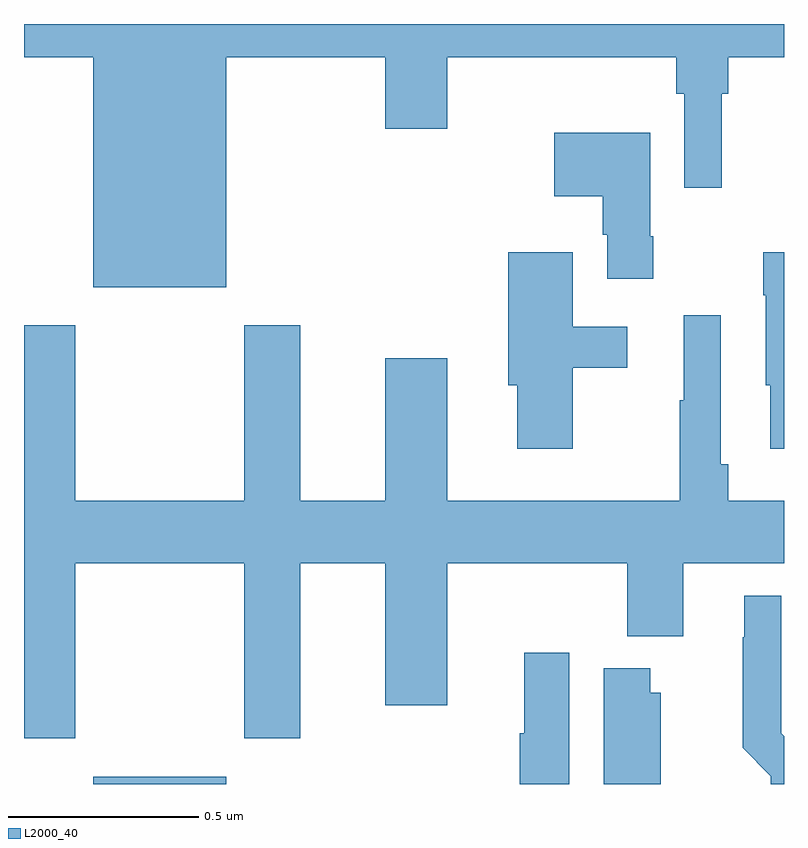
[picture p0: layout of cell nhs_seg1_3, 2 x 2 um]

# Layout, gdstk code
import gdstk
lib = gdstk.Library(unit=1e-6, precision=1e-09)
def R(c, l, rs):  # rectangles x0, y0, x1, y1
    for r in rs: c.add(gdstk.rectangle(r[:2], r[2:], *l))
def P(c, l, *ps):  # polygons
    for p in ps: c.add(gdstk.Polygon(p, *l))
L2000_40 = (2000, 40)

nhs_seg1_3 = lib.new_cell('nhs_seg1_3')
R(nhs_seg1_3, L2000_40, [(111.182,503.199,111.532,503.218)])
P(nhs_seg1_3, L2000_40, [(111.532,505.112),(111.95,505.112),(111.95,504.924),(112.114,504.924),(112.114,505.112),(112.717,505.112),(112.717,505.016),(112.737,505.016),(112.737,504.768),(112.836,504.768),(112.836,505.016),(112.853,505.016),(112.853,505.112),(113,505.112),(113,505.199),(111,505.199),(111,505.112),(111.182,505.112),(111.182,504.506),(111.532,504.506)],
  [(112.656,504.64),(112.648,504.64),(112.648,504.913),(112.395,504.913),(112.395,504.746),(112.523,504.746),(112.523,504.645),(112.535,504.645),(112.535,504.528),(112.656,504.528)],
  [(113,504.598),(112.945,504.598),(112.945,504.485),(112.952,504.485),(112.952,504.249),(112.964,504.249),(112.964,504.081),(113,504.081)],
  [(112.444,504.294),(112.588,504.294),(112.588,504.402),(112.444,504.402),(112.444,504.598),(112.274,504.598),(112.274,504.249),(112.298,504.249),(112.298,504.081),(112.444,504.081)],
  [(111.135,503.78),(111.58,503.78),(111.58,503.319),(111.727,503.319),(111.727,503.78),(111.95,503.78),(111.95,503.406),(112.114,503.406),(112.114,503.78),(112.588,503.78),(112.588,503.588),(112.735,503.588),(112.735,503.78),(113,503.78),(113,503.944),(112.853,503.944),(112.853,504.04),(112.833,504.04),(112.833,504.433),(112.736,504.433),(112.736,504.209),(112.725,504.209),(112.725,503.944),(112.114,503.944),(112.114,504.319),(111.95,504.319),(111.95,503.944),(111.727,503.944),(111.727,504.406),(111.58,504.406),(111.58,503.944),(111.135,503.944),(111.135,504.406),(111,504.406),(111,503.319),(111.135,503.319)],
  [(113,503.325),(112.993,503.332),(112.993,503.695),(112.895,503.695),(112.895,503.585),(112.891,503.585),(112.891,503.294),(112.965,503.22),(112.965,503.199),(113,503.199)],
  [(112.435,503.545),(112.316,503.545),(112.316,503.332),(112.304,503.332),(112.304,503.199),(112.435,503.199)],
  [(112.675,503.439),(112.648,503.439),(112.648,503.503),(112.526,503.503),(112.526,503.199),(112.675,503.199)])

lib.write_gds('nhs_seg1_3.gds')
